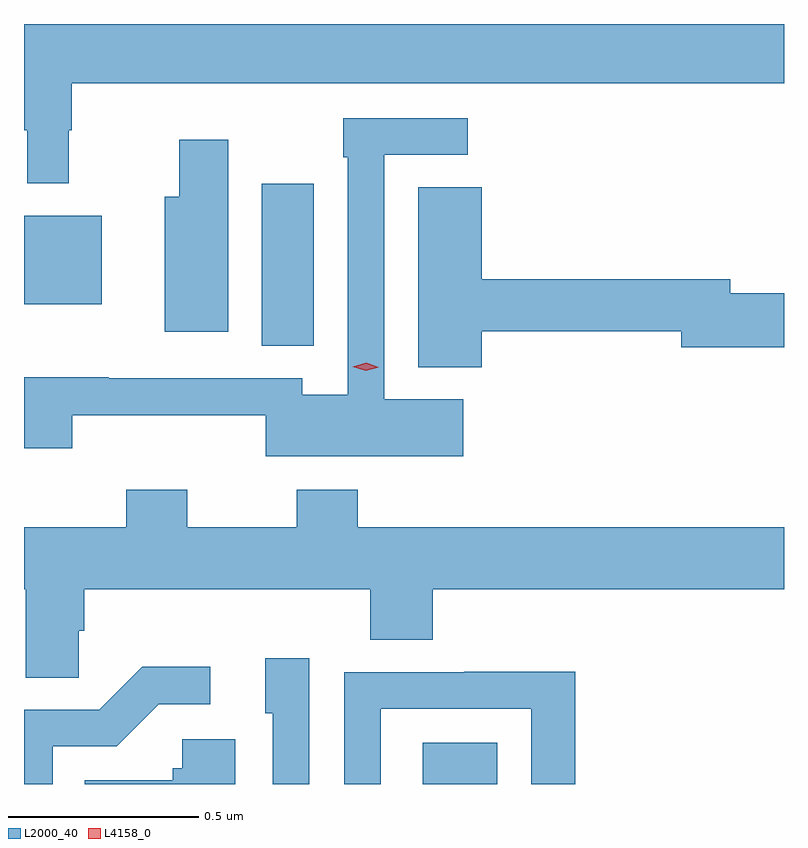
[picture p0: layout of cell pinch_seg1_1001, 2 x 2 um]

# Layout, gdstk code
import gdstk
lib = gdstk.Library(unit=1e-6, precision=1e-09)
def R(c, l, rs):  # rectangles x0, y0, x1, y1
    for r in rs: c.add(gdstk.rectangle(r[:2], r[2:], *l))
def P(c, l, *ps):  # polygons
    for p in ps: c.add(gdstk.Polygon(p, *l))
L2000_40 = (2000, 40)
L4158_0 = (4158, 0)

pinch_seg1_1001 = lib.new_cell('pinch_seg1_1001')
R(pinch_seg1_1001, L2000_40, [(266.117,555.216,266.314,555.325), (265.694,556.369,265.831,556.795), (265.068,556.478,265.273,556.711)])
P(pinch_seg1_1001, L2000_40, [(265.186,556.937),(265.193,556.937),(265.193,557.06),(267.068,557.06),(267.068,557.216),(265.068,557.216),(265.068,556.937),(265.077,556.937),(265.077,556.797),(265.186,556.797)],
  [(266.224,556.228),(266.016,556.228),(266.016,556.872),(266.236,556.872),(266.236,556.968),(265.908,556.968),(265.908,556.865),(265.92,556.865),(265.92,556.24),(265.8,556.24),(265.8,556.284),(265.291,556.284),(265.291,556.286),(265.068,556.286),(265.068,556.1),(265.195,556.1),(265.195,556.187),(265.704,556.187),(265.704,556.079),(266.224,556.079)],
  [(265.606,556.912),(265.477,556.912),(265.477,556.762),(265.439,556.762),(265.439,556.406),(265.606,556.406)],
  [(266.272,556.408),(266.798,556.408),(266.798,556.366),(267.068,556.366),(267.068,556.508),(266.926,556.508),(266.926,556.544),(266.272,556.544),(266.272,556.787),(266.105,556.787),(266.105,556.313),(266.272,556.313)],
  [(265.212,555.619),(265.226,555.619),(265.226,555.728),(265.979,555.728),(265.979,555.595),(266.144,555.595),(266.144,555.728),(267.068,555.728),(267.068,555.892),(265.946,555.892),(265.946,555.991),(265.786,555.991),(265.786,555.892),(265.497,555.892),(265.497,555.991),(265.337,555.991),(265.337,555.892),(265.068,555.892),(265.068,555.728),(265.073,555.728),(265.073,555.496),(265.212,555.496)],
  [(265.818,555.547),(265.703,555.547),(265.703,555.402),(265.722,555.402),(265.722,555.216),(265.818,555.216)],
  [(265.143,555.315),(265.312,555.315),(265.423,555.426),(265.558,555.426),(265.558,555.524),(265.379,555.524),(265.266,555.411),(265.068,555.411),(265.068,555.216),(265.143,555.216)],
  [(266.007,555.414),(266.403,555.414),(266.403,555.216),(266.519,555.216),(266.519,555.512),(266.227,555.512),(266.227,555.51),(265.911,555.51),(265.911,555.216),(266.007,555.216)],
  [(265.624,555.334),(265.485,555.334),(265.485,555.258),(265.459,555.258),(265.459,555.226),(265.228,555.226),(265.228,555.216),(265.624,555.216)])
P(pinch_seg1_1001, L4158_0, [(265.967,556.304),(265.933,556.314),(265.932,556.314),(265.933,556.314),(265.968,556.324),(266.002,556.313),(266.002,556.313),(266.002,556.313)])

lib.write_gds('pinch_seg1_1001.gds')
